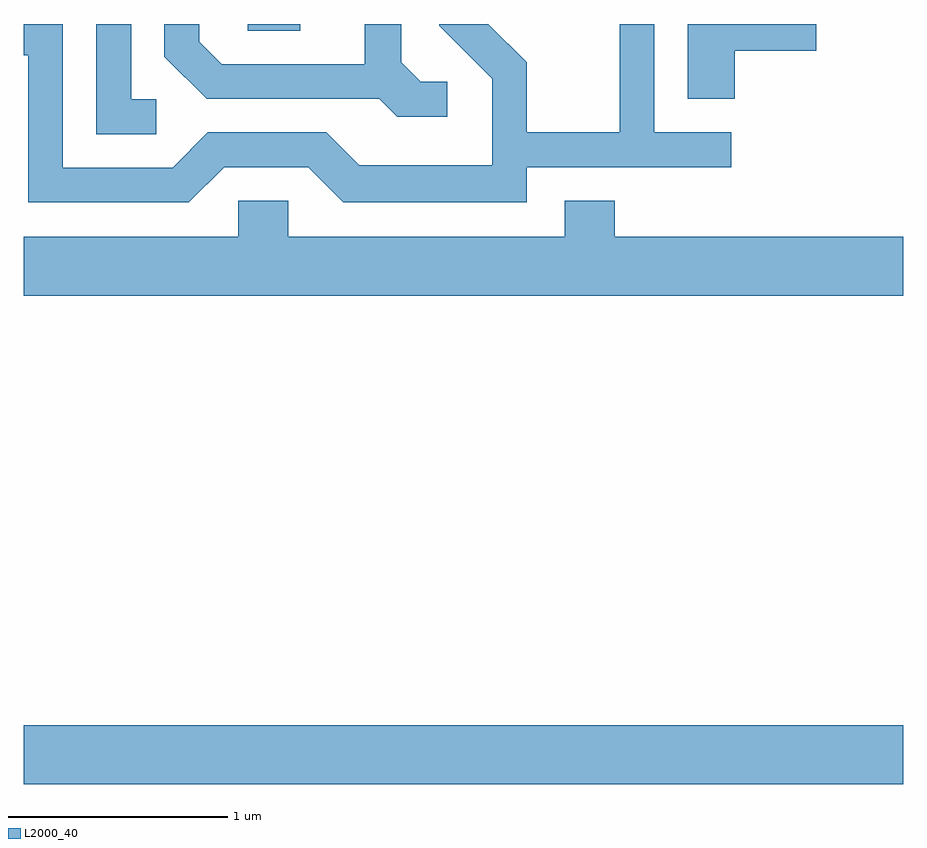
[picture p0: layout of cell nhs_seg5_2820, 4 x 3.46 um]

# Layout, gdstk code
import gdstk
lib = gdstk.Library(unit=1e-6, precision=1e-09)
def R(c, l, rs):  # rectangles x0, y0, x1, y1
    for r in rs: c.add(gdstk.rectangle(r[:2], r[2:], *l))
def P(c, l, *ps):  # polygons
    for p in ps: c.add(gdstk.Polygon(p, *l))
L2000_40 = (2000, 40)

nhs_seg5_2820 = lib.new_cell('nhs_seg5_2820')
R(nhs_seg5_2820, L2000_40, [(269.611,1414.616,273.611,1414.884), (270.631,1418.041,270.869,1418.072)])
P(nhs_seg5_2820, L2000_40, [(271.538,1417.809),(271.417,1417.809),(271.329,1417.897),(271.329,1418.072),(271.161,1418.072),(271.161,1417.889),(270.512,1417.889),(270.409,1417.992),(270.409,1418.072),(270.251,1418.072),(270.251,1417.924),(270.444,1417.731),(271.229,1417.731),(271.309,1417.651),(271.538,1417.651)],
  [(272.844,1417.951),(273.214,1417.951),(273.214,1418.072),(272.631,1418.072),(272.631,1417.731),(272.844,1417.731)],
  [(270.522,1417.421),(270.904,1417.421),(271.064,1417.261),(271.899,1417.261),(271.899,1417.421),(272.828,1417.421),(272.828,1417.579),(272.479,1417.579),(272.479,1418.072),(272.321,1418.072),(272.321,1417.579),(271.899,1417.579),(271.899,1417.897),(271.724,1418.072),(271.501,1418.072),(271.501,1418.064),(271.741,1417.824),(271.741,1417.429),(271.137,1417.429),(270.987,1417.579),(270.449,1417.579),(270.289,1417.419),(269.789,1417.419),(269.789,1418.072),(269.611,1418.072),(269.611,1417.931),(269.631,1417.931),(269.631,1417.261),(270.362,1417.261)],
  [(270.213,1417.729),(270.099,1417.729),(270.099,1418.072),(269.941,1418.072),(269.941,1417.571),(270.213,1417.571)],
  [(273.611,1417.104),(272.299,1417.104),(272.299,1417.269),(272.071,1417.269),(272.071,1417.104),(270.814,1417.104),(270.814,1417.269),(270.586,1417.269),(270.586,1417.104),(269.611,1417.104),(269.611,1416.836),(273.611,1416.836)])

lib.write_gds('nhs_seg5_2820.gds')
